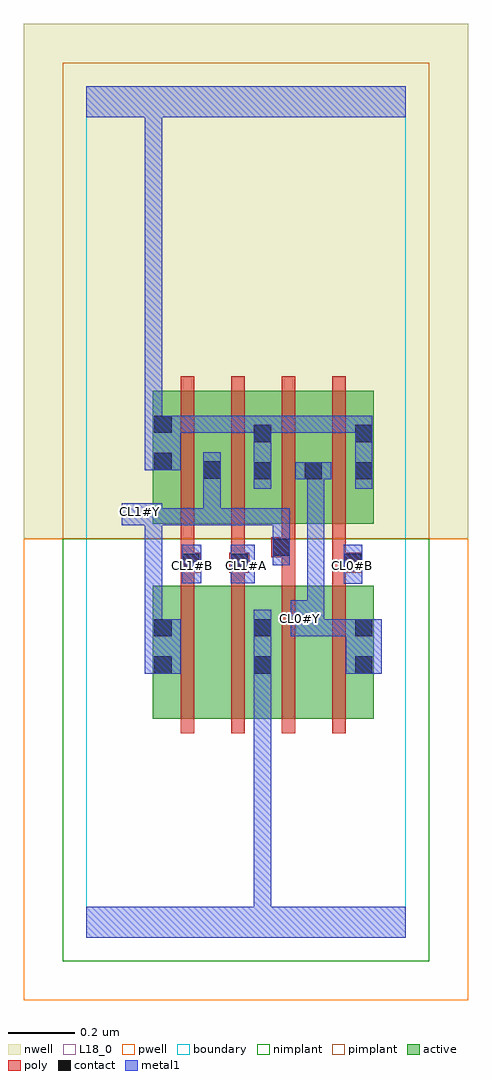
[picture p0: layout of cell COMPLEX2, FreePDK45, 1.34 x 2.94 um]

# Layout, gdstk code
import gdstk
lib = gdstk.Library(unit=1e-6, precision=1e-09)
def R(c, l, rs):  # rectangles x0, y0, x1, y1
    for r in rs: c.add(gdstk.rectangle(r[:2], r[2:], *l))
def A(c, l, x, y, w, h, nx, ny, dx, dy):  # array of equal rectangles
    R(c, l, [(x+i*dx, y+j*dy, x+i*dx+w, y+j*dy+h) for i in range(nx) for j in range(ny)])
active = (1, 0)
pwell = (2, 0)
nwell = (3, 0)
nimplant = (4, 0)
pimplant = (5, 0)
poly = (9, 0)
contact = (10, 0)
metal1 = (11, 0)
L18_0 = (18, 0)
boundary = (235, 0)

complex2 = lib.new_cell('COMPLEX2')
A(complex2, active, 0.348, 1.244, 0.06, 0.4, 4, 1, 0.152, 0)
A(complex2, active, 0.348, 1.244, 0.212, 0.4, 3, 1, 0.152, 0)
R(complex2, active, [(0.2,0.658,0.38,1.058), (0.38,0.658,0.56,1.058), (0.5,0.658,0.684,1.058), (0.684,0.658,0.864,1.058), (0.2,0.756,0.26,1.058), (0.5,0.756,0.56,0.962), (0.804,0.756,0.864,1.058), (0.2,1.244,0.26,1.644), (0.2,1.244,0.408,1.644)])
R(complex2, pwell, [(-0.188,-0.188,1.148,1.2)])
R(complex2, nwell, [(-0.188,1.2,1.148,2.748)])
R(complex2, nimplant, [(-0.072,-0.072,1.032,1.2)])
R(complex2, pimplant, [(-0.072,1.2,1.032,2.632)])
A(complex2, poly, 0.284, 0.614, 0.04, 0.488, 4, 2, 0.152, 0.586)
R(complex2, poly, [(0.284,1.062,0.324,1.138), (0.436,1.062,0.476,1.138), (0.588,1.062,0.628,1.184), (0.74,1.062,0.78,1.138), (0.284,1.098,0.344,1.158), (0.43,1.098,0.49,1.158), (0.74,1.098,0.83,1.158), (0.284,1.118,0.324,1.24), (0.284,1.118,0.324,1.158), (0.284,1.118,0.324,1.158), (0.436,1.118,0.476,1.24), (0.436,1.118,0.476,1.158), (0.436,1.118,0.476,1.158), (0.74,1.118,0.78,1.24), (0.74,1.118,0.78,1.158), (0.74,1.118,0.78,1.158), (0.556,1.144,0.628,1.204), (0.588,1.144,0.628,1.184), (0.588,1.144,0.628,1.184), (0.588,1.164,0.628,1.24)])
A(complex2, contact, 0.504, 1.378, 0.052, 0.052, 3, 1, 0.152, 0)
R(complex2, contact, [(0.204,0.794,0.256,0.846), (0.504,0.794,0.556,0.846), (0.808,0.794,0.86,0.846), (0.204,0.906,0.256,0.958), (0.504,0.906,0.556,0.958), (0.808,0.906,0.86,0.958), (0.288,1.102,0.34,1.154), (0.434,1.102,0.486,1.154), (0.774,1.102,0.826,1.154), (0.56,1.148,0.612,1.2), (0.352,1.38,0.404,1.432), (0.204,1.406,0.256,1.458), (0.504,1.49,0.556,1.542), (0.808,1.49,0.86,1.542), (0.204,1.518,0.256,1.57)])
R(complex2, metal1, [(0,0,0.96,0.092), (0.504,0.04,0.556,0.092), (0.504,0.04,0.556,0.092), (0.504,0.04,0.556,0.092), (0.504,0.04,0.556,0.092), (0.504,0.04,0.556,0.818), (0.504,0.766,0.556,0.986), (0.504,0.766,0.556,0.818), (0.504,0.766,0.556,0.818), (0.504,0.766,0.556,0.818), (0.504,0.766,0.556,0.818), (0.504,0.766,0.556,0.818), (0.504,0.766,0.556,0.818), (0.504,0.766,0.556,0.818), (0.504,0.766,0.556,0.818), (0.176,0.794,0.284,0.958), (0.78,0.794,0.888,0.958), (0.176,0.906,0.228,0.958), (0.176,0.906,0.228,0.958), (0.176,0.906,0.228,1.292), (0.614,0.906,0.716,1.014), (0.664,0.906,0.716,0.958), (0.664,0.906,0.716,0.958), (0.664,0.906,0.832,0.958), (0.78,0.906,0.832,0.958), (0.78,0.906,0.832,0.958), (0.664,0.962,0.716,1.43), (0.774,1.064,0.83,1.182), (0.288,1.066,0.346,1.182), (0.434,1.066,0.506,1.182), (0.56,1.12,0.612,1.292), (0.106,1.24,0.228,1.306), (0.176,1.24,0.228,1.292), (0.176,1.24,0.228,1.292), (0.176,1.24,0.404,1.292), (0.352,1.24,0.404,1.292), (0.352,1.24,0.404,1.292), (0.352,1.24,0.404,1.292), (0.352,1.24,0.528,1.292), (0.352,1.24,0.404,1.404), (0.476,1.24,0.528,1.292), (0.476,1.24,0.612,1.292), (0.504,1.35,0.556,1.57), (0.808,1.35,0.86,1.57), (0.352,1.352,0.404,1.46), (0.628,1.378,0.736,1.43), (0.664,1.378,0.716,1.43), (0.664,1.378,0.716,1.43), (0.176,1.406,0.284,1.57), (0.176,1.518,0.228,1.57), (0.176,1.518,0.228,1.57), (0.176,1.518,0.228,1.57), (0.176,1.518,0.228,1.57), (0.176,1.518,0.228,1.57), (0.176,1.518,0.228,1.57), (0.176,1.518,0.228,2.52), (0.232,1.518,0.284,1.57), (0.232,1.518,0.284,1.57), (0.232,1.518,0.418,1.57), (0.366,1.518,0.556,1.57), (0.366,1.518,0.418,1.57), (0.366,1.518,0.418,1.57), (0.366,1.518,0.418,1.57), (0.504,1.518,0.556,1.57), (0.504,1.518,0.556,1.57), (0.504,1.518,0.722,1.57), (0.67,1.518,0.86,1.57), (0.67,1.518,0.722,1.57), (0.67,1.518,0.722,1.57), (0.67,1.518,0.722,1.57), (0,2.468,0.96,2.56), (0.176,2.468,0.228,2.52), (0.176,2.468,0.228,2.52), (0.176,2.468,0.228,2.52), (0.176,2.468,0.228,2.52), (0.176,2.468,0.228,2.52), (0.176,2.468,0.228,2.52), (0.176,2.468,0.228,2.52), (0.176,2.468,0.228,2.52), (0.176,2.468,0.228,2.52), (0.176,2.468,0.228,2.52)])
R(complex2, L18_0, [(0,0,0.96,0.092), (0.504,0.04,0.556,0.092), (0.504,0.04,0.556,0.092), (0.504,0.04,0.556,0.092), (0.504,0.04,0.556,0.092), (0.504,0.04,0.556,0.818), (0.504,0.766,0.556,0.818), (0.504,0.766,0.556,0.818), (0.504,0.766,0.556,0.818), (0.504,0.766,0.556,0.818), (0.504,0.766,0.556,0.818), (0.504,0.766,0.556,0.818), (0.504,0.766,0.556,0.818), (0.504,0.766,0.556,0.818), (0.504,0.766,0.556,0.986), (0.176,0.794,0.284,0.958), (0.78,0.794,0.888,0.958), (0.176,0.906,0.228,0.958), (0.176,0.906,0.228,0.958), (0.176,0.906,0.228,1.292), (0.614,0.906,0.716,1.014), (0.664,0.906,0.716,0.958), (0.664,0.906,0.716,0.958), (0.664,0.906,0.832,0.958), (0.78,0.906,0.832,0.958), (0.78,0.906,0.832,0.958), (0.614,0.934,0.666,0.986), (0.664,0.962,0.716,1.43), (0.774,1.064,0.83,1.182), (0.288,1.066,0.346,1.182), (0.434,1.066,0.506,1.182), (0.294,1.094,0.346,1.146), (0.454,1.094,0.506,1.146), (0.774,1.094,0.826,1.146), (0.56,1.12,0.612,1.292), (0.106,1.24,0.228,1.306), (0.176,1.24,0.228,1.292), (0.176,1.24,0.228,1.292), (0.176,1.24,0.404,1.292), (0.352,1.24,0.404,1.292), (0.352,1.24,0.404,1.292), (0.352,1.24,0.404,1.292), (0.352,1.24,0.404,1.404), (0.352,1.24,0.528,1.292), (0.476,1.24,0.528,1.292), (0.476,1.24,0.612,1.292), (0.134,1.254,0.186,1.306), (0.504,1.35,0.556,1.57), (0.808,1.35,0.86,1.57), (0.352,1.352,0.404,1.46), (0.628,1.378,0.736,1.43), (0.664,1.378,0.716,1.43), (0.664,1.378,0.716,1.43), (0.176,1.406,0.284,1.57), (0.176,1.518,0.228,1.57), (0.176,1.518,0.228,1.57), (0.176,1.518,0.228,1.57), (0.176,1.518,0.228,1.57), (0.176,1.518,0.228,1.57), (0.176,1.518,0.228,1.57), (0.176,1.518,0.228,2.52), (0.232,1.518,0.284,1.57), (0.232,1.518,0.284,1.57), (0.232,1.518,0.418,1.57), (0.366,1.518,0.418,1.57), (0.366,1.518,0.418,1.57), (0.366,1.518,0.418,1.57), (0.366,1.518,0.556,1.57), (0.504,1.518,0.556,1.57), (0.504,1.518,0.556,1.57), (0.504,1.518,0.722,1.57), (0.67,1.518,0.722,1.57), (0.67,1.518,0.722,1.57), (0.67,1.518,0.722,1.57), (0.67,1.518,0.86,1.57), (0,2.468,0.96,2.56), (0.176,2.468,0.228,2.52), (0.176,2.468,0.228,2.52), (0.176,2.468,0.228,2.52), (0.176,2.468,0.228,2.52), (0.176,2.468,0.228,2.52), (0.176,2.468,0.228,2.52), (0.176,2.468,0.228,2.52), (0.176,2.468,0.228,2.52), (0.176,2.468,0.228,2.52), (0.176,2.468,0.228,2.52)])
R(complex2, boundary, [(0,0,0.96,2.56)])
complex2.add(gdstk.Label('CL0#B', (0.8,1.12), layer=11, texttype=0))
complex2.add(gdstk.Label('CL0#Y', (0.64,0.96), layer=11, texttype=0))
complex2.add(gdstk.Label('CL1#A', (0.48,1.12), layer=11, texttype=0))
complex2.add(gdstk.Label('CL1#B', (0.32,1.12), layer=11, texttype=0))
complex2.add(gdstk.Label('CL1#Y', (0.16,1.28), layer=11, texttype=0))

lib.write_gds('COMPLEX2.gds')
